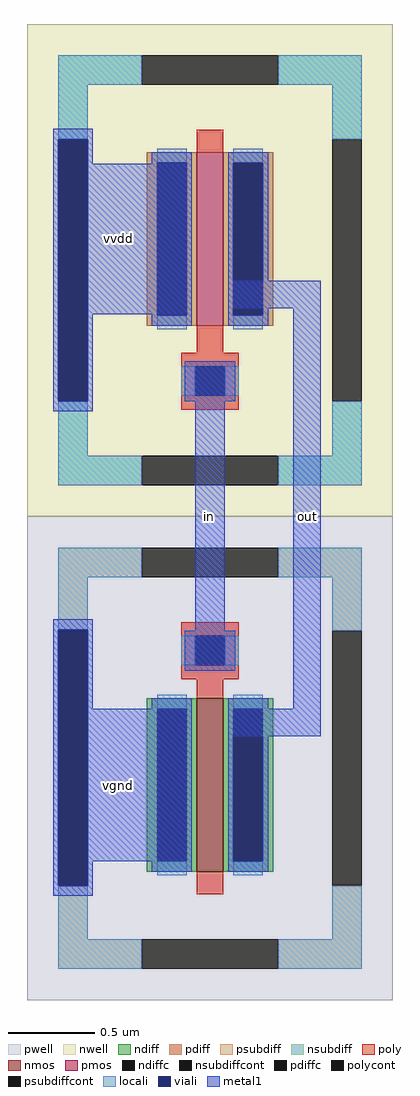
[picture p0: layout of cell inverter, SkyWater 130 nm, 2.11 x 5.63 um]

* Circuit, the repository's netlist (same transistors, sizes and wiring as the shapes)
** sch_path: /home/ahmadjabar/project/inverter/inverter.sch
.subckt inverter vvdd out in vgnd
*.PININFO in:I out:O vvdd:B vgnd:B
XM1 out in vgnd vgnd sky130_fd_pr__nfet_01v8 L=0.15 W=1 nf=1 m=1
XM2 out in vvdd vvdd sky130_fd_pr__pfet_01v8 L=0.15 W=1 nf=1 m=1
.ends
.end

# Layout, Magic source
magic
tech sky130A
magscale 1 2
<< pwell >>
rect 246 251 288 283
<< viali >>
rect -15 638 19 940
rect -15 79 19 374
<< metal1 >>
rect -21 940 25 952
rect -21 638 -15 940
rect 19 912 25 940
rect 19 738 133 912
rect 186 745 288 777
rect 19 638 25 738
rect -21 626 25 638
rect -21 374 25 386
rect -21 79 -15 374
rect 19 283 25 374
rect 143 333 177 678
rect 256 283 288 745
rect 19 107 133 283
rect 187 251 288 283
rect 19 79 25 107
rect -21 67 25 79
use sky130_fd_pr__nfet_01v8_64Z3AY  XM1
transform 1 0 160 0 1 226
box -211 -279 211 279
use sky130_fd_pr__pfet_01v8_LGS3BL  XM2
transform 1 0 160 0 1 789
box -211 -284 211 284
<< labels >>
flabel metal1 54 825 54 825 0 FreeSans 160 0 0 0 vvdd
port 0 nsew
flabel metal1 54 194 54 194 0 FreeSans 160 0 0 0 vgnd
port 1 nsew
flabel metal1 159 505 159 505 0 FreeSans 160 0 0 0 in
port 2 nsew
flabel metal1 272 505 272 505 0 FreeSans 160 0 0 0 out
port 3 nsew
<< end >>

# cell sky130_fd_pr__nfet_01v8_64Z3AY: kit device sky130_fd_pr__nfet_01v8, w 1.0 l 0.15 m 1 nf 1 diffcov 100 polycov 100 guard 1 glc 1 grc 1 gtc 1 gbc 1 tbcov 100 rlcov 100 topc 1 botc 0 poverlap 0 doverlap 1 lmin 0.15 wmin 0.42 compatible {sky130_fd_pr__nfet_01v8 sky130_fd_pr__nfet_01v8_lvt sky130_fd_bs_flash__special_sonosfet_star sky130_fd_pr__nfet_g5v0d10v5 sky130_fd_pr__nfet_05v0_nvt sky130_fd_pr__nfet_03v3_nvt} full_metal 1 viasrc 100 viadrn 100 viagate 100 viagb 0 viagr 0 viagl 0 viagt 0

# cell sky130_fd_pr__pfet_01v8_LGS3BL: kit device sky130_fd_pr__pfet_01v8, w 1.0 l 0.15 m 1 nf 1 diffcov 100 polycov 100 guard 1 glc 1 grc 1 gtc 1 gbc 1 tbcov 100 rlcov 100 topc 0 botc 1 poverlap 0 doverlap 1 lmin 0.15 wmin 0.42 compatible {sky130_fd_pr__pfet_01v8 sky130_fd_pr__pfet_01v8_lvt sky130_fd_pr__pfet_01v8_hvt sky130_fd_pr__pfet_g5v0d10v5} full_metal 1 viasrc 100 viadrn 100 viagate 100 viagb 0 viagr 0 viagl 0 viagt 0
